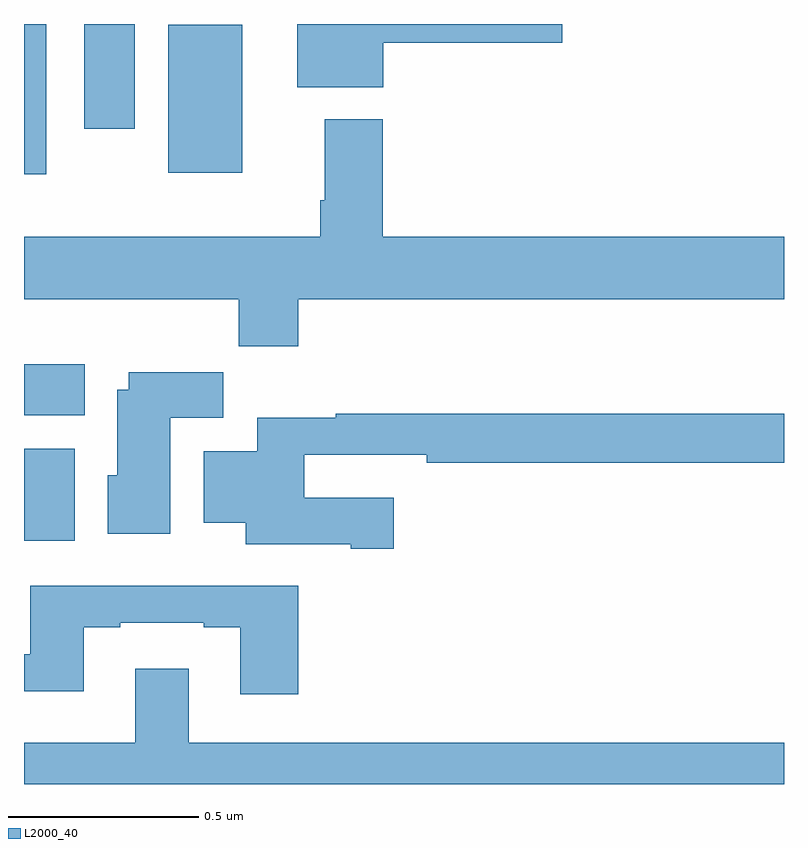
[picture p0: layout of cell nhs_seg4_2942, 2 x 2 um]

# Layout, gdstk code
import gdstk
lib = gdstk.Library(unit=1e-6, precision=1e-09)
def R(c, l, rs):  # rectangles x0, y0, x1, y1
    for r in rs: c.add(gdstk.rectangle(r[:2], r[2:], *l))
def P(c, l, *ps):  # polygons
    for p in ps: c.add(gdstk.Polygon(p, *l))
L2000_40 = (2000, 40)

nhs_seg4_2942 = lib.new_cell('nhs_seg4_2942')
R(nhs_seg4_2942, L2000_40, [(147,773.54,147.133,773.782), (147,773.87,147.16,774.004), (147,774.504,147.058,774.9), (147.38,774.509,147.574,774.898), (147.158,774.624,147.292,774.9)])
P(nhs_seg4_2942, L2000_40, [(147.946,774.851),(148.417,774.851),(148.417,774.9),(147.719,774.9),(147.719,774.734),(147.946,774.734)],
  [(147.722,774.176),(149,774.176),(149,774.34),(147.944,774.34),(147.944,774.649),(147.791,774.649),(147.791,774.436),(147.779,774.436),(147.779,774.34),(147,774.34),(147,774.176),(147.565,774.176),(147.565,774.052),(147.722,774.052)],
  [(147.385,773.864),(147.524,773.864),(147.524,773.983),(147.275,773.983),(147.275,773.938),(147.245,773.938),(147.245,773.712),(147.221,773.712),(147.221,773.558),(147.385,773.558)],
  [(147.973,773.653),(147.737,773.653),(147.737,773.766),(148.06,773.766),(148.06,773.746),(149,773.746),(149,773.875),(147.82,773.875),(147.82,773.864),(147.614,773.864),(147.614,773.776),(147.473,773.776),(147.473,773.588),(147.584,773.588),(147.584,773.531),(147.86,773.531),(147.86,773.519),(147.973,773.519)],
  [(147.722,773.422),(147.017,773.422),(147.017,773.241),(147,773.241),(147,773.144),(147.157,773.144),(147.157,773.313),(147.253,773.313),(147.253,773.325),(147.473,773.325),(147.473,773.313),(147.569,773.313),(147.569,773.136),(147.722,773.136)],
  [(149,773.008),(147.433,773.008),(147.433,773.203),(147.293,773.203),(147.293,773.008),(147,773.008),(147,772.9),(149,772.9)])

lib.write_gds('nhs_seg4_2942.gds')
